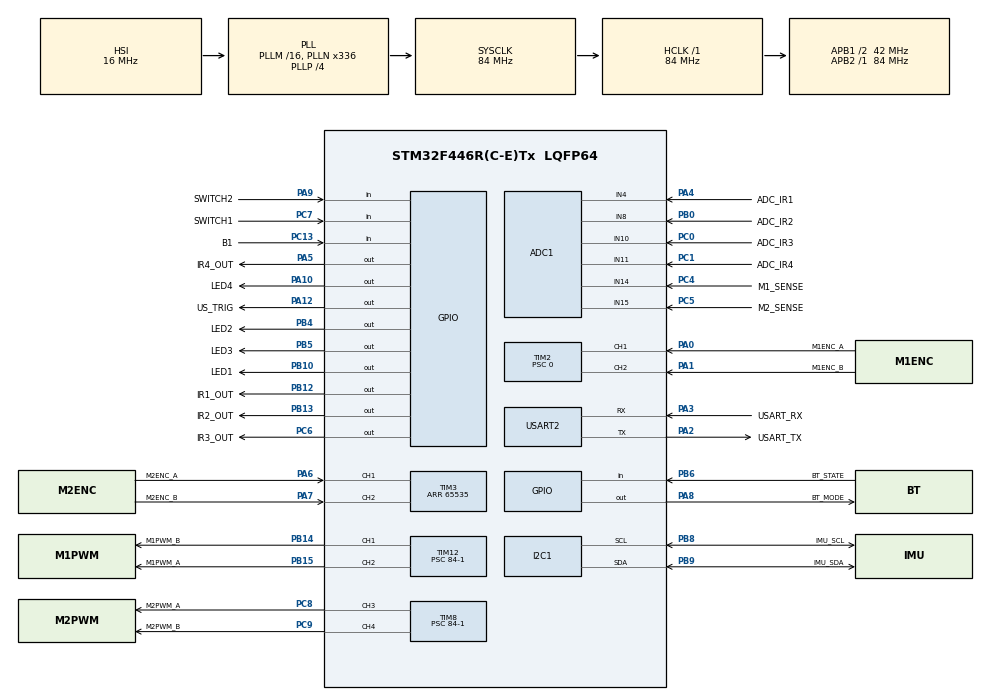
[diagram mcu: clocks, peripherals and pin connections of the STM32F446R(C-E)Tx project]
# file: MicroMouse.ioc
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ADC1.Channel-0\#ChannelRegularConversion=ADC_CHANNEL_8
ADC1.NbrOfConversionFlag=1
ADC1.Rank-0\#ChannelRegularConversion=1
ADC1.SamplingTime-0\#ChannelRegularConversion=ADC_SAMPLETIME_3CYCLES
ADC1.master=1
Dma.I2C1_RX.0.Direction=DMA_PERIPH_TO_MEMORY
Dma.I2C1_RX.0.FIFOMode=DMA_FIFOMODE_DISABLE
Dma.I2C1_RX.0.Instance=DMA1_Stream0
Dma.I2C1_RX.0.MemDataAlignment=DMA_MDATAALIGN_BYTE
Dma.I2C1_RX.0.MemInc=DMA_MINC_ENABLE
Dma.I2C1_RX.0.Mode=DMA_NORMAL
Dma.I2C1_RX.0.PeriphDataAlignment=DMA_PDATAALIGN_BYTE
Dma.I2C1_RX.0.PeriphInc=DMA_PINC_DISABLE
Dma.I2C1_RX.0.Priority=DMA_PRIORITY_LOW
Dma.Request0=I2C1_RX
Mcu.Family=STM32F4
Mcu.Name=STM32F446R(C-E)Tx
Mcu.Package=LQFP64
NVIC.DMA1_Stream0_IRQn=true\:0\:0\:false\:false\:true\:false\:true\:true
NVIC.PriorityGroup=NVIC_PRIORITYGROUP_0
NVIC.TIM2_IRQn=true\:0\:0\:false\:false\:true\:true\:true\:true
NVIC.TIM3_IRQn=true\:0\:0\:false\:false\:true\:true\:true\:true
NVIC.TIM6_DAC_IRQn=true\:0\:0\:false\:false\:true\:true\:true\:true
NVIC.TIM8_BRK_TIM12_IRQn=true\:0\:0\:false\:false\:true\:true\:true\:true
PA0-WKUP.GPIO_Label=M1ENC_A
PA0-WKUP.Signal=S_TIM2_CH1_ETR
PA1.GPIO_Label=M1ENC_B
PA1.Signal=S_TIM2_CH2
PA10.GPIO_Label=LED4
PA10.Signal=GPIO_Output
PA11.Signal=S_TIM1_CH4
PA12.GPIO_Label=US_TRIG
PA12.Signal=GPIO_Output
PA13.GPIO_Label=TMS
PA13.Mode=Serial_Wire
PA13.Signal=SYS_JTMS-SWDIO
PA14.GPIO_Label=TCK
PA14.Mode=Serial_Wire
PA14.Signal=SYS_JTCK-SWCLK
PA2.GPIO_Label=USART_TX
PA2.Mode=Asynchronous
PA2.Signal=USART2_TX
PA3.GPIO_Label=USART_RX
PA3.Mode=Asynchronous
PA3.Signal=USART2_RX
PA4.GPIO_Label=ADC_IR1
PA4.Signal=ADCx_IN4
PA5.GPIO_Label=IR4_OUT
PA5.Signal=GPIO_Output
PA6.GPIO_Label=M2ENC_A
PA6.Signal=S_TIM3_CH1
PA7.GPIO_Label=M2ENC_B
PA7.Signal=S_TIM3_CH2
PA8.GPIO_Label=BT_MODE
PA8.Signal=GPIO_Output
PA9.GPIO_Label=SWITCH2
PA9.Signal=GPIO_Input
PB0.GPIO_Label=ADC_IR2
PB0.Signal=ADCx_IN8
PB10.GPIO_Label=LED1
PB10.Signal=GPIO_Output
PB12.GPIO_Label=IR1_OUT
PB12.Signal=GPIO_Output
PB13.GPIO_Label=IR2_OUT
PB13.Signal=GPIO_Output
PB14.GPIO_Label=M1PWM_B
PB14.Signal=S_TIM12_CH1
PB15.GPIO_Label=M1PWM_A
PB15.Signal=S_TIM12_CH2
PB3.GPIO_Label=SWO
PB3.Signal=SYS_JTDO-SWO
PB4.GPIO_Label=LED2
PB4.Signal=GPIO_Output
PB5.GPIO_Label=LED3
PB5.Signal=GPIO_Output
PB6.GPIO_Label=BT_STATE
PB6.Signal=GPIO_Input
PB8.GPIO_Label=IMU_SCL
PB8.Mode=I2C
PB8.Signal=I2C1_SCL
PB9.GPIO_Label=IMU_SDA
PB9.Mode=I2C
PB9.Signal=I2C1_SDA
PC0.GPIO_Label=ADC_IR3
PC0.Signal=ADCx_IN10
PC1.GPIO_Label=ADC_IR4
PC1.Signal=ADCx_IN11
PC10.GPIO_Label=BT_TX
PC10.Signal=UART4_TX
PC11.GPIO_Label=BT_RX
PC11.Signal=UART4_RX
PC13.GPIO_Label=B1
PC13.Signal=GPIO_Input
PC14-OSC32_IN.Mode=LSE-External-Oscillator
PC14-OSC32_IN.Signal=RCC_OSC32_IN
PC15-OSC32_OUT.Mode=LSE-External-Oscillator
PC15-OSC32_OUT.Signal=RCC_OSC32_OUT
PC4.GPIO_Label=M1_SENSE
PC4.Signal=ADCx_IN14
PC5.GPIO_Label=M2_SENSE
PC5.Signal=ADCx_IN15
PC6.GPIO_Label=IR3_OUT
PC6.Signal=GPIO_Output
PC7.GPIO_Label=SWITCH1
PC7.Signal=GPIO_Input
PC8.GPIO_Label=M2PWM_A
PC8.Signal=S_TIM8_CH3
PC9.GPIO_Label=M2PWM_B
PC9.Signal=S_TIM8_CH4
PH0-OSC_IN.Mode=HSE-External-Oscillator
PH0-OSC_IN.Signal=RCC_OSC_IN
PH1-OSC_OUT.Mode=HSE-External-Oscillator
PH1-OSC_OUT.Signal=RCC_OSC_OUT
ProjectManager.HeapSize=0x200
ProjectManager.StackSize=0x400
ProjectManager.TargetToolchain=STM32CubeIDE
RCC.48MHZClocksFreq_Value=84000000
RCC.AHBFreq_Value=84000000
RCC.APB1CLKDivider=RCC_HCLK_DIV2
RCC.APB1Freq_Value=42000000
RCC.APB1TimFreq_Value=84000000
RCC.APB2Freq_Value=84000000
RCC.APB2TimFreq_Value=84000000
RCC.CortexFreq_Value=84000000
RCC.FLatency-AdvancedSettings=FLASH_LATENCY_2
RCC.HCLKFreq_Value=84000000
RCC.HSE_VALUE=8000000
RCC.HSI_VALUE=16000000
RCC.PLLN=336
RCC.PLLP=RCC_PLLP_DIV4
RCC.SYSCLKFreq_VALUE=84000000
RCC.SYSCLKSource=RCC_SYSCLKSOURCE_PLLCLK
RCC.USBFreq_Value=168000000
RCC.VCOOutputFreq_Value=336000000
SH.ADCx_IN10.0=ADC1_IN10,IN10
SH.ADCx_IN11.0=ADC1_IN11,IN11
SH.ADCx_IN14.0=ADC1_IN14,IN14
SH.ADCx_IN15.0=ADC1_IN15,IN15
SH.ADCx_IN4.0=ADC1_IN4,IN4
SH.ADCx_IN8.0=ADC1_IN8,IN8
SH.S_TIM12_CH1.0=TIM12_CH1,PWM Generation1 CH1
SH.S_TIM12_CH2.0=TIM12_CH2,PWM Generation2 CH2
SH.S_TIM1_CH4.0=TIM1_CH4
SH.S_TIM2_CH1_ETR.0=TIM2_CH1,Encoder_Interface
SH.S_TIM2_CH2.0=TIM2_CH2,Encoder_Interface
SH.S_TIM3_CH1.0=TIM3_CH1,Encoder_Interface
SH.S_TIM3_CH2.0=TIM3_CH2,Encoder_Interface
SH.S_TIM8_CH3.0=TIM8_CH3,PWM Generation3 CH3
SH.S_TIM8_CH4.0=TIM8_CH4,PWM Generation4 CH4
TIM12.Channel-PWM\ Generation1\ CH1=TIM_CHANNEL_1
TIM12.Channel-PWM\ Generation2\ CH2=TIM_CHANNEL_2
TIM12.Period=1000
TIM12.Prescaler=84-1
TIM2.EncoderMode=TIM_ENCODERMODE_TI12
TIM2.IC1Filter=0xf
TIM2.IC2Filter=0xf
TIM2.Period=65535
TIM2.Prescaler=0
TIM3.EncoderMode=TIM_ENCODERMODE_TI12
TIM3.IC1Filter=0xf
TIM3.IC2Filter=0xf
TIM3.Period=65535
TIM6.Period=20000-1
TIM6.Prescaler=84-1
TIM8.Channel-PWM\ Generation3\ CH3=TIM_CHANNEL_3
TIM8.Channel-PWM\ Generation4\ CH4=TIM_CHANNEL_4
TIM8.Period=1000
TIM8.Prescaler=84-1
USART2.VirtualMode=VM_ASYNC
VP_TIM4_VS_ClockSourceINT.Mode=Internal
VP_TIM5_VS_ClockSourceINT.Mode=Internal
VP_TIM6_VS_ClockSourceINT.Mode=Enable_Timer
VP_TIM7_VS_ClockSourceINT.Mode=Enable_Timer
board=NUCLEO-F446RE

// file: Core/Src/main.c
/* USER CODE BEGIN Header */
/**
  ******************************************************************************
  * @file           : main.c
  * @brief          : Main program body
  ******************************************************************************
  * @attention
  *
  * Copyright (c) 2026 STMicroelectronics.
  * All rights reserved.
  *
  * This software is licensed under terms that can be found in the LICENSE file
  * in the root directory of this software component.
  * If no LICENSE file comes with this software, it is provided AS-IS.
  *
  ******************************************************************************
  */
/* USER CODE END Header */
#include "main.h"

/* USER CODE BEGIN Includes */
#include "Algorithm.h"
#include "Sensors.h"
#include "IO.h"
#include "Mapping.h"
#include "queue.h"
#include "PID.h"
/* USER CODE END Includes */

ADC_HandleTypeDef hadc1;

I2C_HandleTypeDef hi2c1;
DMA_HandleTypeDef hdma_i2c1_rx;

TIM_HandleTypeDef htim2;
TIM_HandleTypeDef htim3;
TIM_HandleTypeDef htim4;
TIM_HandleTypeDef htim5;
TIM_HandleTypeDef htim6;
TIM_HandleTypeDef htim7;
TIM_HandleTypeDef htim8;
TIM_HandleTypeDef htim12;

UART_HandleTypeDef huart2;

/* USER CODE BEGIN PV */

uint8_t map[map_w][map_h];
static Queue path;
float theta;
/* USER CODE END PV */

void SystemClock_Config(void);
static void MX_GPIO_Init(void);
static void MX_DMA_Init(void);
static void MX_USART2_UART_Init(void);
static void MX_ADC1_Init(void);
static void MX_TIM2_Init(void);
static void MX_TIM3_Init(void);
static void MX_TIM6_Init(void);
static void MX_I2C1_Init(void);
static void MX_TIM4_Init(void);
static void MX_TIM8_Init(void);
static void MX_TIM12_Init(void);
static void MX_TIM5_Init(void);
static void MX_TIM7_Init(void);

/* USER CODE BEGIN 0 */

static int h = 0;
static float temp = 0;
/* USER CODE END 0 */

int main(void)
{

  /* MCU Configuration--------------------------------------------------------*/

  /* Reset of all peripherals, Initializes the Flash interface and the Systick. */  HAL_Init();

  /* Configure the system clock */
  SystemClock_Config();

  /* Initialize all configured peripherals */
  MX_GPIO_Init();
  MX_DMA_Init();
  MX_USART2_UART_Init();
  MX_ADC1_Init();
  MX_TIM2_Init();
  MX_TIM3_Init();
  MX_TIM6_Init();
  MX_I2C1_Init();
  MX_TIM4_Init();
  MX_TIM8_Init();
  MX_TIM12_Init();
  MX_TIM5_Init();
  MX_TIM7_Init();
  /* USER CODE BEGIN 2 */
  Sensors_init();
  Mapping_init();
  IO_init();
  PID_init();
//  Algorithm_init();
  HAL_TIM_Base_Start_IT(&htim6);	// start timer6 to generate interrupt
  HAL_TIM_Encoder_Start(&htim2,TIM_CHANNEL_ALL);	// start the Quadrature encoder (timer 2)
  HAL_TIM_Encoder_Start(&htim3,TIM_CHANNEL_ALL);	// start the Quadrature encoder (timer 3)
  __HAL_TIM_CLEAR_FLAG(&htim3, TIM_FLAG_UPDATE);
  __HAL_TIM_ENABLE_IT(&htim3, TIM_IT_UPDATE);
  HAL_TIM_PWM_Start(&htim8, TIM_CHANNEL_4);
  HAL_TIM_PWM_Start(&htim8, TIM_CHANNEL_3);
  HAL_TIM_PWM_Start(&htim12, TIM_CHANNEL_2);
  HAL_TIM_PWM_Start(&htim12, TIM_CHANNEL_1);

  HAL_TIM_Base_Start(&htim5);

  HAL_TIM_Base_Start(&htim7);
  //Calabrate();

  int goal[2] = {3,2};
  vector target = {2,2};
  Queue turnList;
  Queue moveList;

  Queue_init(&turnList);

  Queue_init(&moveList);

  /* USER CODE END 2 */

  /* Infinite loop */
  while (1)
  {

    /* USER CODE BEGIN 3 */

//	  Enc_locate(positionL,positionR);
//	  float x = Mapping_GetX();
//	  float y = Mapping_GetY();
//	  LogPos(x,y);
	  theta = Enc_locate(positionL,positionR);
	  locateWall();
	  flood_fill_calc(map, goal);

	  int turnAngle = 90;
	  //turn(90);

	  int done = update(positionL, positionR, theta,target,turnAngle);
	  if( done == 1){

	  }
		Position pos;
		pos.x = 0;
		pos.y = 0;

		path = getPath(pos,map);

		h++;
		if(h >=3000){
			SetTarget(180);
			h = 0 ;
		}
		//HAL_Delay(1);
  }
  /* USER CODE END 3 */
}

void SystemClock_Config(void)
{
  RCC_OscInitTypeDef RCC_OscInitStruct = {0};
  RCC_ClkInitTypeDef RCC_ClkInitStruct = {0};

  /** Configure the main internal regulator output voltage
  */
  __HAL_RCC_PWR_CLK_ENABLE();
  __HAL_PWR_VOLTAGESCALING_CONFIG(PWR_REGULATOR_VOLTAGE_SCALE3);

  /** Initializes the RCC Oscillators according to the specified parameters
  * in the RCC_OscInitTypeDef structure.
  */
  RCC_OscInitStruct.OscillatorType = RCC_OSCILLATORTYPE_HSI;
  RCC_OscInitStruct.HSIState = RCC_HSI_ON;
  RCC_OscInitStruct.HSICalibrationValue = RCC_HSICALIBRATION_DEFAULT;
  RCC_OscInitStruct.PLL.PLLState = RCC_PLL_ON;
  RCC_OscInitStruct.PLL.PLLSource = RCC_PLLSOURCE_HSI;
  RCC_OscInitStruct.PLL.PLLM = 16;
  RCC_OscInitStruct.PLL.PLLN = 336;
  RCC_OscInitStruct.PLL.PLLP = RCC_PLLP_DIV4;
  RCC_OscInitStruct.PLL.PLLQ = 2;
  RCC_OscInitStruct.PLL.PLLR = 2;
  if (HAL_RCC_OscConfig(&RCC_OscInitStruct) != HAL_OK)
  {
    Error_Handler();
  }

  /** Initializes the CPU, AHB and APB buses clocks
  */
  RCC_ClkInitStruct.ClockType = RCC_CLOCKTYPE_HCLK|RCC_CLOCKTYPE_SYSCLK
                              |RCC_CLOCKTYPE_PCLK1|RCC_CLOCKTYPE_PCLK2;
  RCC_ClkInitStruct.SYSCLKSource = RCC_SYSCLKSOURCE_PLLCLK;
  RCC_ClkInitStruct.AHBCLKDivider = RCC_SYSCLK_DIV1;
  RCC_ClkInitStruct.APB1CLKDivider = RCC_HCLK_DIV2;
  RCC_ClkInitStruct.APB2CLKDivider = RCC_HCLK_DIV1;

  if (HAL_RCC_ClockConfig(&RCC_ClkInitStruct, FLASH_LATENCY_2) != HAL_OK)
  {
    Error_Handler();
  }
}

static void MX_ADC1_Init(void)
{

  ADC_ChannelConfTypeDef sConfig = {0};

  /** Configure the global features of the ADC (Clock, Resolution, Data Alignment and number of conversion)
  */
  hadc1.Instance = ADC1;
  hadc1.Init.ClockPrescaler = ADC_CLOCK_SYNC_PCLK_DIV4;
  hadc1.Init.Resolution = ADC_RESOLUTION_12B;
  hadc1.Init.ScanConvMode = DISABLE;
  hadc1.Init.ContinuousConvMode = DISABLE;
  hadc1.Init.DiscontinuousConvMode = DISABLE;
  hadc1.Init.ExternalTrigConvEdge = ADC_EXTERNALTRIGCONVEDGE_NONE;
  hadc1.Init.ExternalTrigConv = ADC_SOFTWARE_START;
  hadc1.Init.DataAlign = ADC_DATAALIGN_RIGHT;
  hadc1.Init.NbrOfConversion = 1;
  hadc1.Init.DMAContinuousRequests = DISABLE;
  hadc1.Init.EOCSelection = ADC_EOC_SINGLE_CONV;
  if (HAL_ADC_Init(&hadc1) != HAL_OK)
  {
    Error_Handler();
  }

  /** Configure for the selected ADC regular channel its corresponding rank in the sequencer and its sample time.
  */
  sConfig.Channel = ADC_CHANNEL_8;
  sConfig.Rank = 1;
  sConfig.SamplingTime = ADC_SAMPLETIME_3CYCLES;
  if (HAL_ADC_ConfigChannel(&hadc1, &sConfig) != HAL_OK)
  {
    Error_Handler();
  }

}

static void MX_I2C1_Init(void)
{

  hi2c1.Instance = I2C1;
  hi2c1.Init.ClockSpeed = 100000;
  hi2c1.Init.DutyCycle = I2C_DUTYCYCLE_2;
  hi2c1.Init.OwnAddress1 = 0;
  hi2c1.Init.AddressingMode = I2C_ADDRESSINGMODE_7BIT;
  hi2c1.Init.DualAddressMode = I2C_DUALADDRESS_DISABLE;
  hi2c1.Init.OwnAddress2 = 0;
  hi2c1.Init.GeneralCallMode = I2C_GENERALCALL_DISABLE;
  hi2c1.Init.NoStretchMode = I2C_NOSTRETCH_DISABLE;
  if (HAL_I2C_Init(&hi2c1) != HAL_OK)
  {
    Error_Handler();
  }

}

static void MX_TIM2_Init(void)
{

  TIM_Encoder_InitTypeDef sConfig = {0};
  TIM_MasterConfigTypeDef sMasterConfig = {0};

  htim2.Instance = TIM2;
  htim2.Init.Prescaler = 0;
  htim2.Init.CounterMode = TIM_COUNTERMODE_UP;
  htim2.Init.Period = 65535;
  htim2.Init.ClockDivision = TIM_CLOCKDIVISION_DIV1;
  htim2.Init.AutoReloadPreload = TIM_AUTORELOAD_PRELOAD_DISABLE;
  sConfig.EncoderMode = TIM_ENCODERMODE_TI12;
  sConfig.IC1Polarity = TIM_ICPOLARITY_RISING;
  sConfig.IC1Selection = TIM_ICSELECTION_DIRECTTI;
  sConfig.IC1Prescaler = TIM_ICPSC_DIV1;
  sConfig.IC1Filter = 0xf;
  sConfig.IC2Polarity = TIM_ICPOLARITY_RISING;
  sConfig.IC2Selection = TIM_ICSELECTION_DIRECTTI;
  sConfig.IC2Prescaler = TIM_ICPSC_DIV1;
  sConfig.IC2Filter = 0xf;
  if (HAL_TIM_Encoder_Init(&htim2, &sConfig) != HAL_OK)
  {
    Error_Handler();
  }
  sMasterConfig.MasterOutputTrigger = TIM_TRGO_RESET;
  sMasterConfig.MasterSlaveMode = TIM_MASTERSLAVEMODE_DISABLE;
  if (HAL_TIMEx_MasterConfigSynchronization(&htim2, &sMasterConfig) != HAL_OK)
  {
    Error_Handler();
  }

}

static void MX_TIM3_Init(void)
{

  TIM_Encoder_InitTypeDef sConfig = {0};
  TIM_MasterConfigTypeDef sMasterConfig = {0};

  htim3.Instance = TIM3;
  htim3.Init.Prescaler = 0;
  htim3.Init.CounterMode = TIM_COUNTERMODE_UP;
  htim3.Init.Period = 65535;
  htim3.Init.ClockDivision = TIM_CLOCKDIVISION_DIV1;
  htim3.Init.AutoReloadPreload = TIM_AUTORELOAD_PRELOAD_DISABLE;
  sConfig.EncoderMode = TIM_ENCODERMODE_TI12;
  sConfig.IC1Polarity = TIM_ICPOLARITY_RISING;
  sConfig.IC1Selection = TIM_ICSELECTION_DIRECTTI;
  sConfig.IC1Prescaler = TIM_ICPSC_DIV1;
  sConfig.IC1Filter = 0xf;
  sConfig.IC2Polarity = TIM_ICPOLARITY_RISING;
  sConfig.IC2Selection = TIM_ICSELECTION_DIRECTTI;
  sConfig.IC2Prescaler = TIM_ICPSC_DIV1;
  sConfig.IC2Filter = 0xf;
  if (HAL_TIM_Encoder_Init(&htim3, &sConfig) != HAL_OK)
  {
    Error_Handler();
  }
  sMasterConfig.MasterOutputTrigger = TIM_TRGO_RESET;
  sMasterConfig.MasterSlaveMode = TIM_MASTERSLAVEMODE_DISABLE;
  if (HAL_TIMEx_MasterConfigSynchronization(&htim3, &sMasterConfig) != HAL_OK)
  {
    Error_Handler();
  }

}

static void MX_TIM4_Init(void)
{

  TIM_ClockConfigTypeDef sClockSourceConfig = {0};
  TIM_MasterConfigTypeDef sMasterConfig = {0};

  htim4.Instance = TIM4;
  htim4.Init.Prescaler = 0;
  htim4.Init.CounterMode = TIM_COUNTERMODE_UP;
  htim4.Init.Period = 65535;
  htim4.Init.ClockDivision = TIM_CLOCKDIVISION_DIV1;
  htim4.Init.AutoReloadPreload = TIM_AUTORELOAD_PRELOAD_DISABLE;
  if (HAL_TIM_Base_Init(&htim4) != HAL_OK)
  {
    Error_Handler();
  }
  sClockSourceConfig.ClockSource = TIM_CLOCKSOURCE_INTERNAL;
  if (HAL_TIM_ConfigClockSource(&htim4, &sClockSourceConfig) != HAL_OK)
  {
    Error_Handler();
  }
  sMasterConfig.MasterOutputTrigger = TIM_TRGO_RESET;
  sMasterConfig.MasterSlaveMode = TIM_MASTERSLAVEMODE_DISABLE;
  if (HAL_TIMEx_MasterConfigSynchronization(&htim4, &sMasterConfig) != HAL_OK)
  {
    Error_Handler();
  }

}

static void MX_TIM5_Init(void)
{

  TIM_ClockConfigTypeDef sClockSourceConfig = {0};
  TIM_MasterConfigTypeDef sMasterConfig = {0};

  htim5.Instance = TIM5;
  htim5.Init.Prescaler = 0;
  htim5.Init.CounterMode = TIM_COUNTERMODE_UP;
  htim5.Init.Period = 4294967295;
  htim5.Init.ClockDivision = TIM_CLOCKDIVISION_DIV1;
  htim5.Init.AutoReloadPreload = TIM_AUTORELOAD_PRELOAD_DISABLE;
  if (HAL_TIM_Base_Init(&htim5) != HAL_OK)
  {
    Error_Handler();
  }
  sClockSourceConfig.ClockSource = TIM_CLOCKSOURCE_INTERNAL;
  if (HAL_TIM_ConfigClockSource(&htim5, &sClockSourceConfig) != HAL_OK)
  {
    Error_Handler();
  }
  sMasterConfig.MasterOutputTrigger = TIM_TRGO_RESET;
  sMasterConfig.MasterSlaveMode = TIM_MASTERSLAVEMODE_DISABLE;
  if (HAL_TIMEx_MasterConfigSynchronization(&htim5, &sMasterConfig) != HAL_OK)
  {
    Error_Handler();
  }

}

static void MX_TIM6_Init(void)
{

  TIM_MasterConfigTypeDef sMasterConfig = {0};

  htim6.Instance = TIM6;
  htim6.Init.Prescaler = 84-1;
  htim6.Init.CounterMode = TIM_COUNTERMODE_UP;
  htim6.Init.Period = 20000-1;
  htim6.Init.AutoReloadPreload = TIM_AUTORELOAD_PRELOAD_DISABLE;
  if (HAL_TIM_Base_Init(&htim6) != HAL_OK)
  {
    Error_Handler();
  }
  sMasterConfig.MasterOutputTrigger = TIM_TRGO_RESET;
  sMasterConfig.MasterSlaveMode = TIM_MASTERSLAVEMODE_DISABLE;
  if (HAL_TIMEx_MasterConfigSynchronization(&htim6, &sMasterConfig) != HAL_OK)
  {
    Error_Handler();
  }

}

static void MX_TIM7_Init(void)
{

  TIM_MasterConfigTypeDef sMasterConfig = {0};

  htim7.Instance = TIM7;
  htim7.Init.Prescaler = 0;
  htim7.Init.CounterMode = TIM_COUNTERMODE_UP;
  htim7.Init.Period = 65535;
  htim7.Init.AutoReloadPreload = TIM_AUTORELOAD_PRELOAD_DISABLE;
  if (HAL_TIM_Base_Init(&htim7) != HAL_OK)
  {
    Error_Handler();
  }
  sMasterConfig.MasterOutputTrigger = TIM_TRGO_RESET;
  sMasterConfig.MasterSlaveMode = TIM_MASTERSLAVEMODE_DISABLE;
  if (HAL_TIMEx_MasterConfigSynchronization(&htim7, &sMasterConfig) != HAL_OK)
  {
    Error_Handler();
  }

}

static void MX_TIM8_Init(void)
{

  TIM_MasterConfigTypeDef sMasterConfig = {0};
  TIM_OC_InitTypeDef sConfigOC = {0};
  TIM_BreakDeadTimeConfigTypeDef sBreakDeadTimeConfig = {0};

  htim8.Instance = TIM8;
  htim8.Init.Prescaler = 84-1;
  htim8.Init.CounterMode = TIM_COUNTERMODE_UP;
  htim8.Init.Period = 1000;
  htim8.Init.ClockDivision = TIM_CLOCKDIVISION_DIV1;
  htim8.Init.RepetitionCounter = 0;
  htim8.Init.AutoReloadPreload = TIM_AUTORELOAD_PRELOAD_DISABLE;
  if (HAL_TIM_PWM_Init(&htim8) != HAL_OK)
  {
    Error_Handler();
  }
  sMasterConfig.MasterOutputTrigger = TIM_TRGO_RESET;
  sMasterConfig.MasterSlaveMode = TIM_MASTERSLAVEMODE_DISABLE;
  if (HAL_TIMEx_MasterConfigSynchronization(&htim8, &sMasterConfig) != HAL_OK)
  {
    Error_Handler();
  }
  sConfigOC.OCMode = TIM_OCMODE_PWM1;
  sConfigOC.Pulse = 0;
  sConfigOC.OCPolarity = TIM_OCPOLARITY_HIGH;
  sConfigOC.OCNPolarity = TIM_OCNPOLARITY_HIGH;
  sConfigOC.OCFastMode = TIM_OCFAST_DISABLE;
  sConfigOC.OCIdleState = TIM_OCIDLESTATE_RESET;
  sConfigOC.OCNIdleState = TIM_OCNIDLESTATE_RESET;
  if (HAL_TIM_PWM_ConfigChannel(&htim8, &sConfigOC, TIM_CHANNEL_3) != HAL_OK)
  {
    Error_Handler();
  }
  if (HAL_TIM_PWM_ConfigChannel(&htim8, &sConfigOC, TIM_CHANNEL_4) != HAL_OK)
  {
    Error_Handler();
  }
  sBreakDeadTimeConfig.OffStateRunMode = TIM_OSSR_DISABLE;
  sBreakDeadTimeConfig.OffStateIDLEMode = TIM_OSSI_DISABLE;
  sBreakDeadTimeConfig.LockLevel = TIM_LOCKLEVEL_OFF;
  sBreakDeadTimeConfig.DeadTime = 0;
  sBreakDeadTimeConfig.BreakState = TIM_BREAK_DISABLE;
  sBreakDeadTimeConfig.BreakPolarity = TIM_BREAKPOLARITY_HIGH;
  sBreakDeadTimeConfig.AutomaticOutput = TIM_AUTOMATICOUTPUT_DISABLE;
  if (HAL_TIMEx_ConfigBreakDeadTime(&htim8, &sBreakDeadTimeConfig) != HAL_OK)
  {
    Error_Handler();
  }
  HAL_TIM_MspPostInit(&htim8);

}

static void MX_TIM12_Init(void)
{

  TIM_OC_InitTypeDef sConfigOC = {0};

  htim12.Instance = TIM12;
  htim12.Init.Prescaler = 84-1;
  htim12.Init.CounterMode = TIM_COUNTERMODE_UP;
  htim12.Init.Period = 1000;
  htim12.Init.ClockDivision = TIM_CLOCKDIVISION_DIV1;
  htim12.Init.AutoReloadPreload = TIM_AUTORELOAD_PRELOAD_DISABLE;
  if (HAL_TIM_PWM_Init(&htim12) != HAL_OK)
  {
    Error_Handler();
  }
  sConfigOC.OCMode = TIM_OCMODE_PWM1;
  sConfigOC.Pulse = 0;
  sConfigOC.OCPolarity = TIM_OCPOLARITY_HIGH;
  sConfigOC.OCFastMode = TIM_OCFAST_DISABLE;
  if (HAL_TIM_PWM_ConfigChannel(&htim12, &sConfigOC, TIM_CHANNEL_1) != HAL_OK)
  {
    Error_Handler();
  }
  if (HAL_TIM_PWM_ConfigChannel(&htim12, &sConfigOC, TIM_CHANNEL_2) != HAL_OK)
  {
    Error_Handler();
  }
  HAL_TIM_MspPostInit(&htim12);

}

static void MX_USART2_UART_Init(void)
{

  huart2.Instance = USART2;
  huart2.Init.BaudRate = 115200;
  huart2.Init.WordLength = UART_WORDLENGTH_8B;
  huart2.Init.StopBits = UART_STOPBITS_1;
  huart2.Init.Parity = UART_PARITY_NONE;
  huart2.Init.Mode = UART_MODE_TX_RX;
  huart2.Init.HwFlowCtl = UART_HWCONTROL_NONE;
  huart2.Init.OverSampling = UART_OVERSAMPLING_16;
  if (HAL_UART_Init(&huart2) != HAL_OK)
  {
    Error_Handler();
  }

}

static void MX_DMA_Init(void)
{

  /* DMA controller clock enable */
  __HAL_RCC_DMA1_CLK_ENABLE();

  /* DMA interrupt init */
  /* DMA1_Stream0_IRQn interrupt configuration */
  HAL_NVIC_SetPriority(DMA1_Stream0_IRQn, 0, 0);
  HAL_NVIC_EnableIRQ(DMA1_Stream0_IRQn);

}

static void MX_GPIO_Init(void)
{
  GPIO_InitTypeDef GPIO_InitStruct = {0};

  /* GPIO Ports Clock Enable */
  __HAL_RCC_GPIOC_CLK_ENABLE();
  __HAL_RCC_GPIOH_CLK_ENABLE();
  __HAL_RCC_GPIOA_CLK_ENABLE();
  __HAL_RCC_GPIOB_CLK_ENABLE();

  /*Configure GPIO pin Output Level */
  HAL_GPIO_WritePin(GPIOA, IR4_OUT_Pin|BT_MODE_Pin|LED4_Pin|US_TRIG_Pin, GPIO_PIN_RESET);

  /*Configure GPIO pin Output Level */
  HAL_GPIO_WritePin(GPIOB, LED1_Pin|IR1_OUT_Pin|IR2_OUT_Pin|LED2_Pin
                          |LED3_Pin, GPIO_PIN_RESET);

  /*Configure GPIO pin Output Level */
  HAL_GPIO_WritePin(IR3_OUT_GPIO_Port, IR3_OUT_Pin, GPIO_PIN_RESET);

  /*Configure GPIO pins : B1_Pin SWITCH1_Pin */
  GPIO_InitStruct.Pin = B1_Pin|SWITCH1_Pin;
  GPIO_InitStruct.Mode = GPIO_MODE_INPUT;
  GPIO_InitStruct.Pull = GPIO_NOPULL;
  HAL_GPIO_Init(GPIOC, &GPIO_InitStruct);

  /*Configure GPIO pins : IR4_OUT_Pin BT_MODE_Pin LED4_Pin US_TRIG_Pin */
  GPIO_InitStruct.Pin = IR4_OUT_Pin|BT_MODE_Pin|LED4_Pin|US_TRIG_Pin;
  GPIO_InitStruct.Mode = GPIO_MODE_OUTPUT_PP;
  GPIO_InitStruct.Pull = GPIO_NOPULL;
  GPIO_InitStruct.Speed = GPIO_SPEED_FREQ_LOW;
  HAL_GPIO_Init(GPIOA, &GPIO_InitStruct);

  /*Configure GPIO pins : LED1_Pin IR1_OUT_Pin IR2_OUT_Pin LED2_Pin
                           LED3_Pin */
  GPIO_InitStruct.Pin = LED1_Pin|IR1_OUT_Pin|IR2_OUT_Pin|LED2_Pin
                          |LED3_Pin;
  GPIO_InitStruct.Mode = GPIO_MODE_OUTPUT_PP;
  GPIO_InitStruct.Pull = GPIO_NOPULL;
  GPIO_InitStruct.Speed = GPIO_SPEED_FREQ_LOW;
  HAL_GPIO_Init(GPIOB, &GPIO_InitStruct);

  /*Configure GPIO pin : IR3_OUT_Pin */
  GPIO_InitStruct.Pin = IR3_OUT_Pin;
  GPIO_InitStruct.Mode = GPIO_MODE_OUTPUT_PP;
  GPIO_InitStruct.Pull = GPIO_NOPULL;
  GPIO_InitStruct.Speed = GPIO_SPEED_FREQ_LOW;
  HAL_GPIO_Init(IR3_OUT_GPIO_Port, &GPIO_InitStruct);

  /*Configure GPIO pin : SWITCH2_Pin */
  GPIO_InitStruct.Pin = SWITCH2_Pin;
  GPIO_InitStruct.Mode = GPIO_MODE_INPUT;
  GPIO_InitStruct.Pull = GPIO_NOPULL;
  HAL_GPIO_Init(SWITCH2_GPIO_Port, &GPIO_InitStruct);

  /*Configure GPIO pin : PA11 */
  GPIO_InitStruct.Pin = GPIO_PIN_11;
  GPIO_InitStruct.Mode = GPIO_MODE_AF_PP;
  GPIO_InitStruct.Pull = GPIO_NOPULL;
  GPIO_InitStruct.Speed = GPIO_SPEED_FREQ_LOW;
  GPIO_InitStruct.Alternate = GPIO_AF1_TIM1;
  HAL_GPIO_Init(GPIOA, &GPIO_InitStruct);

  /*Configure GPIO pins : BT_TX_Pin BT_RX_Pin */
  GPIO_InitStruct.Pin = BT_TX_Pin|BT_RX_Pin;
  GPIO_InitStruct.Mode = GPIO_MODE_AF_PP;
  GPIO_InitStruct.Pull = GPIO_NOPULL;
  GPIO_InitStruct.Speed = GPIO_SPEED_FREQ_VERY_HIGH;
  GPIO_InitStruct.Alternate = GPIO_AF8_UART4;
  HAL_GPIO_Init(GPIOC, &GPIO_InitStruct);

  /*Configure GPIO pin : BT_STATE_Pin */
  GPIO_InitStruct.Pin = BT_STATE_Pin;
  GPIO_InitStruct.Mode = GPIO_MODE_INPUT;
  GPIO_InitStruct.Pull = GPIO_NOPULL;
  HAL_GPIO_Init(BT_STATE_GPIO_Port, &GPIO_InitStruct);

}

void Error_Handler(void)
{
  __disable_irq();
  while (1)
  {
  }
}
